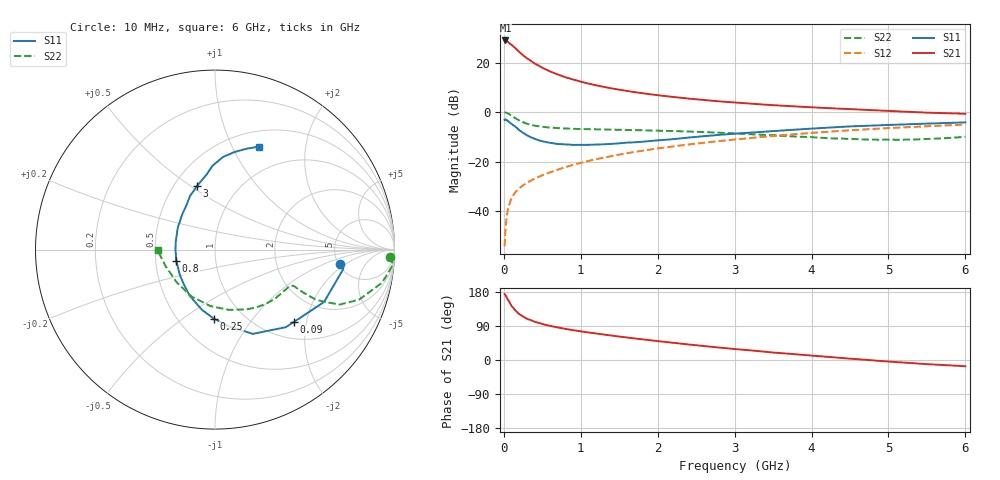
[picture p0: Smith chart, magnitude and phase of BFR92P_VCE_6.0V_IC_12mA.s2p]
! Infineon Technologies  Discrete & RF Semiconductors
! BFR92P
! VCE =  6.0 V,  IC =  12 mA
! Common Emitter S-Parameters:  Apr 2014
# GHz  S  MA  R  50
!  f  S11  S21  S12  S22
! GHz  MAG  ANG  MAG  ANG  MAG  ANG  MAG  ANG
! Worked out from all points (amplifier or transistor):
!   77 points, 10 MHz to 6 GHz, reference 50 ohm
!   highest |S21| = 28.9 dB at 20 MHz (marker M1)
!   |S21| within 3 dB of that: start of sweep to 146.4 MHz
!   unconditionally stable (mu >= 1): 660.2 MHz to 2.372 GHz
!   at 130 MHz: K = 0.41, MSG = 29.7 dB, |S12| = -33.1 dB
!   at 2.2 GHz: K = 1.01, MAG = 9.3 dB, |S12| = -13.8 dB
!   at 6 GHz: K = 0.86, MSG = 2.2 dB, |S12| = -5.0 dB
!   S11 on the Smith chart (normalised r, x): 10 MHz: 5.17, -1.65; 90 MHz: 1.35, -1.69; 250 MHz: 0.73, -0.66; 800 MHz: 0.64, -0.08; 3 GHz: 0.65, +0.53; 6 GHz: 0.68, +1.28
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0.01  0.7023 -6.6  27.62 173.9  0.002 79.7  0.9755 -2.3
0.02  0.7231 -8.6  27.93 171.4  0.004 85.2  0.9958 -4.7
0.05  0.674 -25.7  26.58 159.9  0.0104 79.1  0.9504 -11.1
0.09  0.5958 -42.7  23.36 146.5  0.0169 71.8  0.8689 -17.4
0.1  0.5857 -47.5  22.79 142.6  0.0185 70.8  0.8503 -19.1
0.15  0.5149 -65.8  19.57 130.8  0.0245 67.1  0.7587 -23.8
0.2  0.4342 -79.7  16.41 121.0  0.0295 63.5  0.6801 -25.4
0.25  0.3846 -91.0  14.06 114.7  0.0336 63.5  0.63 -26.4
0.3  0.3431 -102.3  12.22 108.7  0.0378 63.6  0.586 -26.2
0.4  0.2921 -119.2  9.618 100.9  0.0458 65.2  0.5359 -25.8
0.5  0.2594 -132.2  7.878 95.0  0.0536 66.4  0.5085 -25.3
0.6  0.2421 -143.8  6.653 90.1  0.0614 67.4  0.4905 -24.9
0.7  0.2289 -154.5  5.763 85.9  0.0696 67.7  0.4792 -24.9
0.8  0.2251 -163.9  5.081 82.2  0.0777 68.4  0.4705 -25.5
1.1  0.2203 174.6  3.778 72.7  0.1045 68.5  0.4562 -28.2
1.5  0.2362 152.4  2.843 61.9  0.1401 67.0  0.4432 -33.5
2.1  0.2787 128.1  2.116 47.7  0.1954 62.7  0.4212 -43.5
3  0.3695 105.6  1.572 28.9  0.2816 54.5  0.3753 -62.6
3.1  0.3781 103.7  1.532 27.2  0.2915 53.2  0.3674 -65.3
4.1  0.4773 90.2  1.235 10.1  0.3927 42.1  0.3073 -98.8
5.1  0.561 77.4  1.046 -5.5  0.4874 28.6  0.2791 -143.7
6  0.6241 66.8  0.931 -16.4  0.5644 16.4  0.3203 -179.4
